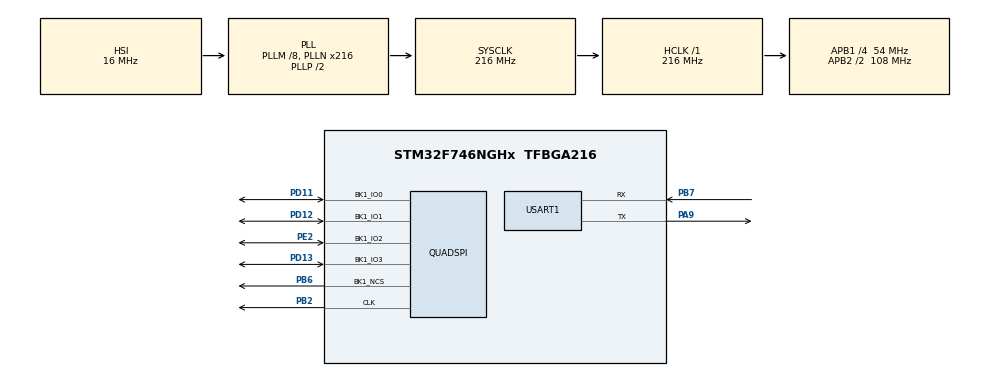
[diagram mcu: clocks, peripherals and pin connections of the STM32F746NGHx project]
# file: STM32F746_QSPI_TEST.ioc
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Mcu.Family=STM32F7
Mcu.Name=STM32F746NGHx
Mcu.Package=TFBGA216
NVIC.PriorityGroup=NVIC_PRIORITYGROUP_4
PA13.Mode=Serial_Wire
PA13.Signal=SYS_JTMS-SWDIO
PA14.Mode=Serial_Wire
PA14.Signal=SYS_JTCK-SWCLK
PA9.Mode=Asynchronous
PA9.Signal=USART1_TX
PB2.Mode=Single Bank 1
PB2.Signal=QUADSPI_CLK
PB6.Mode=Single Bank 1
PB6.Signal=QUADSPI_BK1_NCS
PB7.Mode=Asynchronous
PB7.Signal=USART1_RX
PC14/OSC32_IN.Mode=LSE-External-Oscillator
PC14/OSC32_IN.Signal=RCC_OSC32_IN
PC15/OSC32_OUT.Mode=LSE-External-Oscillator
PC15/OSC32_OUT.Signal=RCC_OSC32_OUT
PD11.Mode=Single Bank 1
PD11.Signal=QUADSPI_BK1_IO0
PD12.Mode=Single Bank 1
PD12.Signal=QUADSPI_BK1_IO1
PD13.Mode=Single Bank 1
PD13.Signal=QUADSPI_BK1_IO3
PE2.Mode=Single Bank 1
PE2.Signal=QUADSPI_BK1_IO2
PH0/OSC_IN.Mode=HSE-External-Oscillator
PH0/OSC_IN.Signal=RCC_OSC_IN
PH1/OSC_OUT.Mode=HSE-External-Oscillator
PH1/OSC_OUT.Signal=RCC_OSC_OUT
ProjectManager.HeapSize=0x200
ProjectManager.StackSize=0x400
ProjectManager.TargetToolchain=STM32CubeIDE
QUADSPI.ChipSelectHighTime=QSPI_CS_HIGH_TIME_2_CYCLE
QUADSPI.ClockPrescaler=2
QUADSPI.FifoThreshold=4
QUADSPI.FlashSize=4
QUADSPI.SampleShifting=QSPI_SAMPLE_SHIFTING_HALFCYCLE
RCC.AHBFreq_Value=216000000
RCC.APB1CLKDivider=RCC_HCLK_DIV4
RCC.APB1Freq_Value=54000000
RCC.APB1TimFreq_Value=108000000
RCC.APB2CLKDivider=RCC_HCLK_DIV2
RCC.APB2Freq_Value=108000000
RCC.APB2TimFreq_Value=216000000
RCC.CortexFreq_Value=216000000
RCC.HCLKFreq_Value=216000000
RCC.HSE_VALUE=25000000
RCC.HSI_VALUE=16000000
RCC.PLL48CLockSelection=RCC_CLK48SOURCE_PLLSAIP
RCC.PLLI2SN=100
RCC.PLLM=8
RCC.PLLN=216
RCC.PLLQ=9
RCC.PLLSAIN=384
RCC.PLLSAIP=RCC_PLLSAIP_DIV8
RCC.PLLSAIR=5
RCC.PLLSAIRDiv=RCC_PLLSAIDIVR_8
RCC.SDMMCClockSelection=RCC_SDMMC1CLKSOURCE_CLK48
RCC.SYSCLKFreq_VALUE=216000000
RCC.SYSCLKSource=RCC_SYSCLKSOURCE_PLLCLK
RCC.USBFreq_Value=96000000
RCC.VCOOutputFreq_Value=432000000
USART1.VirtualMode-Asynchronous=VM_ASYNC
board=STM32F746G-DISCO

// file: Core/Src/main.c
/* USER CODE BEGIN Header */
/**
 ******************************************************************************
 * @file           : main.c
 * @brief          : Main program body
 ******************************************************************************
 * @attention
 *
 * <h2><center>&copy; Copyright (c) 2021 STMicroelectronics.
 * All rights reserved.</center></h2>
 *
 * This software component is licensed by ST under Ultimate Liberty license
 * SLA0044, the "License"; You may not use this file except in compliance with
 * the License. You may obtain a copy of the License at:
 *                             www.st.com/SLA0044
 *
 ******************************************************************************
 */
/* USER CODE END Header */
#include "main.h"

/* USER CODE BEGIN Includes */
#include <stdio.h>
#include "stm32746g_discovery_qspi.h"
/* USER CODE END Includes */

QSPI_HandleTypeDef hqspi;

UART_HandleTypeDef huart1;

/* USER CODE BEGIN PV */
__IO uint8_t CmdCplt, RxCplt, TxCplt, StatusMatch, TimeOut;

/* Buffer used for transmission */
uint8_t aTxBuffer[] =
		" ****QSPI communication based on IT****  ****QSPI communication based on IT****  ****QSPI communication based on IT****  ****QSPI communication based on IT****  ****QSPI communication based on IT****  ****QSPI communication based on IT**** ";

/* Buffer used for reception */
uint8_t aRxBuffer[BUFFERSIZE];
/* USER CODE END PV */

void SystemClock_Config(void);
static void MX_GPIO_Init(void);
static void MX_QUADSPI_Init(void);
static void MX_USART1_UART_Init(void);
/* USER CODE BEGIN PFP */
static void QSPI_WriteEnable(QSPI_HandleTypeDef *hqspi);
static void QSPI_AutoPollingMemReady(QSPI_HandleTypeDef *hqspi);
static void QSPI_DummyCyclesCfg(QSPI_HandleTypeDef *hqspi);
static void CPU_CACHE_Enable(void);
/* USER CODE END PFP */

/* USER CODE BEGIN 0 */
int _write(int file, uint8_t *ptr, uint16_t len) {
	HAL_UART_Transmit(&huart1, ptr, len, 10);

	return len;
}
/* USER CODE END 0 */

int main(void)
{

  /* MCU Configuration--------------------------------------------------------*/

  /* Reset of all peripherals, Initializes the Flash interface and the Systick. */
  HAL_Init();

  /* Configure the system clock */
  SystemClock_Config();

  /* Initialize all configured peripherals */
  MX_GPIO_Init();
  MX_QUADSPI_Init();
  MX_USART1_UART_Init();
  /* USER CODE BEGIN 2 */
	setbuf(stdout, NULL);
	printf("TEST DATA\r\n");

	QSPI_CommandTypeDef sCommand;
		uint32_t address = 0;
		uint16_t index;
		__IO uint8_t step = 0;
		uint32_t data[100];
		uint32_t writedata[100];
		for (int i = 0; i < 400; i = i + 4) {
			writedata[i / 4] |= i;
			writedata[i / 4] |= (i + 1) << 8;
			writedata[i / 4] |= (i + 2)<< 16;
			writedata[i / 4] |= (i + 3)<< 24;
		}
//		printf("\r\nWrite Start \r\n");
//
//		for (int i = 0; i < 100; i++) {
//			printf("%x ", writedata[i]);
//		}

		BSP_QSPI_Init();
		HAL_Delay(1000);
		BSP_QSPI_Erase_Block(0);
		printf("Write REsult %d \r\n", BSP_QSPI_Write(writedata, 0, sizeof(data)));
		printf("\r\nWrite End \r\n");
		if (BSP_QSPI_GetStatus() == 0) {
			printf("Read REsult %d \r\n", BSP_QSPI_Read(data, 0, sizeof(data)));
			for (int i = 0; i < 100; i++) {
				printf("%08x : %04x \r\n",i, data[i]);
			}
			HAL_Delay(1000);
		}
		printf("SPI STATUS %d \r\n", BSP_QSPI_GetStatus());
  /* USER CODE END 2 */

  /* Infinite loop */
	while (1) {

	}
}

void SystemClock_Config(void)
{
  RCC_OscInitTypeDef RCC_OscInitStruct = {0};
  RCC_ClkInitTypeDef RCC_ClkInitStruct = {0};
  RCC_PeriphCLKInitTypeDef PeriphClkInitStruct = {0};

  /** Configure LSE Drive Capability
  */
  HAL_PWR_EnableBkUpAccess();
  /** Configure the main internal regulator output voltage
  */
  __HAL_RCC_PWR_CLK_ENABLE();
  __HAL_PWR_VOLTAGESCALING_CONFIG(PWR_REGULATOR_VOLTAGE_SCALE1);
  /** Initializes the RCC Oscillators according to the specified parameters
  * in the RCC_OscInitTypeDef structure.
  */
  RCC_OscInitStruct.OscillatorType = RCC_OSCILLATORTYPE_HSI;
  RCC_OscInitStruct.HSIState = RCC_HSI_ON;
  RCC_OscInitStruct.HSICalibrationValue = RCC_HSICALIBRATION_DEFAULT;
  RCC_OscInitStruct.PLL.PLLState = RCC_PLL_ON;
  RCC_OscInitStruct.PLL.PLLSource = RCC_PLLSOURCE_HSI;
  RCC_OscInitStruct.PLL.PLLM = 8;
  RCC_OscInitStruct.PLL.PLLN = 216;
  RCC_OscInitStruct.PLL.PLLP = RCC_PLLP_DIV2;
  RCC_OscInitStruct.PLL.PLLQ = 9;
  if (HAL_RCC_OscConfig(&RCC_OscInitStruct) != HAL_OK)
  {
    Error_Handler();
  }
  /** Activate the Over-Drive mode
  */
  if (HAL_PWREx_EnableOverDrive() != HAL_OK)
  {
    Error_Handler();
  }
  /** Initializes the CPU, AHB and APB buses clocks
  */
  RCC_ClkInitStruct.ClockType = RCC_CLOCKTYPE_HCLK|RCC_CLOCKTYPE_SYSCLK
                              |RCC_CLOCKTYPE_PCLK1|RCC_CLOCKTYPE_PCLK2;
  RCC_ClkInitStruct.SYSCLKSource = RCC_SYSCLKSOURCE_PLLCLK;
  RCC_ClkInitStruct.AHBCLKDivider = RCC_SYSCLK_DIV1;
  RCC_ClkInitStruct.APB1CLKDivider = RCC_HCLK_DIV4;
  RCC_ClkInitStruct.APB2CLKDivider = RCC_HCLK_DIV2;

  if (HAL_RCC_ClockConfig(&RCC_ClkInitStruct, FLASH_LATENCY_7) != HAL_OK)
  {
    Error_Handler();
  }
  PeriphClkInitStruct.PeriphClockSelection = RCC_PERIPHCLK_USART1;
  PeriphClkInitStruct.Usart1ClockSelection = RCC_USART1CLKSOURCE_PCLK2;
  if (HAL_RCCEx_PeriphCLKConfig(&PeriphClkInitStruct) != HAL_OK)
  {
    Error_Handler();
  }
}

static void MX_QUADSPI_Init(void)
{

  /* QUADSPI parameter configuration*/
  hqspi.Instance = QUADSPI;
  hqspi.Init.ClockPrescaler = 2;
  hqspi.Init.FifoThreshold = 4;
  hqspi.Init.SampleShifting = QSPI_SAMPLE_SHIFTING_HALFCYCLE;
  hqspi.Init.FlashSize = 4;
  hqspi.Init.ChipSelectHighTime = QSPI_CS_HIGH_TIME_2_CYCLE;
  hqspi.Init.ClockMode = QSPI_CLOCK_MODE_0;
  hqspi.Init.FlashID = QSPI_FLASH_ID_1;
  hqspi.Init.DualFlash = QSPI_DUALFLASH_DISABLE;
  if (HAL_QSPI_Init(&hqspi) != HAL_OK)
  {
    Error_Handler();
  }

}

static void MX_USART1_UART_Init(void)
{

  huart1.Instance = USART1;
  huart1.Init.BaudRate = 115200;
  huart1.Init.WordLength = UART_WORDLENGTH_8B;
  huart1.Init.StopBits = UART_STOPBITS_1;
  huart1.Init.Parity = UART_PARITY_NONE;
  huart1.Init.Mode = UART_MODE_TX_RX;
  huart1.Init.HwFlowCtl = UART_HWCONTROL_NONE;
  huart1.Init.OverSampling = UART_OVERSAMPLING_16;
  huart1.Init.OneBitSampling = UART_ONE_BIT_SAMPLE_DISABLE;
  huart1.AdvancedInit.AdvFeatureInit = UART_ADVFEATURE_NO_INIT;
  if (HAL_UART_Init(&huart1) != HAL_OK)
  {
    Error_Handler();
  }

}

static void MX_GPIO_Init(void)
{

  /* GPIO Ports Clock Enable */
  __HAL_RCC_GPIOE_CLK_ENABLE();
  __HAL_RCC_GPIOA_CLK_ENABLE();
  __HAL_RCC_GPIOB_CLK_ENABLE();
  __HAL_RCC_GPIOC_CLK_ENABLE();
  __HAL_RCC_GPIOH_CLK_ENABLE();
  __HAL_RCC_GPIOD_CLK_ENABLE();

}

void Error_Handler(void)
{
	__disable_irq();
	while (1) {
	}
}

/************************ (C) COPYRIGHT STMicroelectronics *****END OF FILE****/
